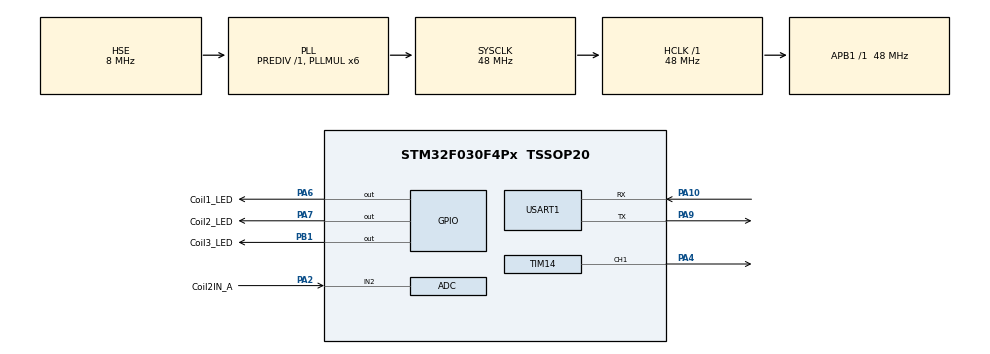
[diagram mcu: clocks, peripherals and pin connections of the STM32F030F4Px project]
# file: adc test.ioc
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ADC.ClockPrescaler=ADC_CLOCK_ASYNC_DIV1
ADC.ContinuousConvMode=ENABLE
ADC.DMAContinuousRequests=ENABLE
ADC.DataAlign=ADC_DATAALIGN_RIGHT
ADC.DiscontinuousConvMode=DISABLE
ADC.EOCSelection=ADC_EOC_SINGLE_CONV
ADC.EnableAnalogWatchDog=false
ADC.ExternalTrigConvEdge=ADC_EXTERNALTRIGCONVEDGE_NONE
ADC.LowPowerAutoPowerOff=DISABLE
ADC.LowPowerAutoWait=DISABLE
ADC.Overrun=ADC_OVR_DATA_OVERWRITTEN
ADC.Resolution=ADC_RESOLUTION_12B
ADC.SamplingTime=ADC_SAMPLETIME_28CYCLES_5
ADC.ScanConvMode=ADC_SCAN_DIRECTION_FORWARD
Dma.ADC.0.Direction=DMA_PERIPH_TO_MEMORY
Dma.ADC.0.Instance=DMA1_Channel1
Dma.ADC.0.MemDataAlignment=DMA_MDATAALIGN_WORD
Dma.ADC.0.MemInc=DMA_MINC_ENABLE
Dma.ADC.0.Mode=DMA_CIRCULAR
Dma.ADC.0.PeriphDataAlignment=DMA_PDATAALIGN_WORD
Dma.ADC.0.PeriphInc=DMA_PINC_DISABLE
Dma.ADC.0.Priority=DMA_PRIORITY_HIGH
Dma.Request0=ADC
Mcu.Family=STM32F0
Mcu.Name=STM32F030F4Px
Mcu.Package=TSSOP20
NVIC.ADC1_IRQn=true\:2\:0\:true\:false\:true
NVIC.DMA1_Channel1_IRQn=true\:0\:0\:false\:false\:true
NVIC.TIM17_IRQn=true\:0\:0\:true\:false\:true
PA10.Mode=Asynchronous
PA10.Signal=USART1_RX
PA13.Mode=Serial_Wire
PA13.Signal=SYS_SWDIO
PA14.Mode=Serial_Wire
PA14.Signal=SYS_SWCLK
PA2.GPIO_Label=Coil2IN_A
PA2.Mode=IN2
PA2.Signal=ADC_IN2
PA4.Signal=S_TIM14_CH1
PA6.GPIO_Label=Coil1_LED
PA6.Signal=GPIO_Output
PA7.GPIO_Label=Coil2_LED
PA7.Signal=GPIO_Output
PA9.Mode=Asynchronous
PA9.Signal=USART1_TX
PB1.GPIO_Label=Coil3_LED
PB1.Signal=GPIO_Output
PF0-OSC_IN.Mode=HSE-External-Oscillator
PF0-OSC_IN.Signal=RCC_OSC_IN
PF1-OSC_OUT.Mode=HSE-External-Oscillator
PF1-OSC_OUT.Signal=RCC_OSC_OUT
ProjectManager.HeapSize=0x200
ProjectManager.StackSize=0x400
ProjectManager.TargetToolchain=SW4STM32
RCC.AHBFreq_Value=48000000
RCC.APB1Freq_Value=48000000
RCC.APB1TimFreq_Value=48000000
RCC.EnbaleCSS=true
RCC.HCLKFreq_Value=48000000
RCC.HSIState=RCC_HSI_ON
RCC.PLLMUL=RCC_PLL_MUL6
RCC.PLLSourceVirtual=RCC_PLLSOURCE_HSE
RCC.SYSCLKFreq_VALUE=48000000
RCC.SYSCLKSource=RCC_SYSCLKSOURCE_PLLCLK
SH.S_TIM14_CH1.0=TIM14_CH1,PWM Generation1 CH1
TIM14.OCFastMode_PWM=TIM_OCFAST_DISABLE
TIM14.Period=256
TIM17.Period=479
VP_TIM14_VS_ClockSourceINT.Mode=Enable_Timer
VP_TIM17_VS_ClockSourceINT.Mode=Enable_Timer
board=adc test

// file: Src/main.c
/**
  ******************************************************************************
  * File Name          : main.c
  * Description        : Main program body
  ******************************************************************************
  *
  * COPYRIGHT(c) 2016 STMicroelectronics
  *
  * Redistribution and use in source and binary forms, with or without modification,
  * are permitted provided that the following conditions are met:
  *   1. Redistributions of source code must retain the above copyright notice,
  *      this list of conditions and the following disclaimer.
  *   2. Redistributions in binary form must reproduce the above copyright notice,
  *      this list of conditions and the following disclaimer in the documentation
  *      and/or other materials provided with the distribution.
  *   3. Neither the name of STMicroelectronics nor the names of its contributors
  *      may be used to endorse or promote products derived from this software
  *      without specific prior written permission.
  *
  * THIS SOFTWARE IS PROVIDED BY THE COPYRIGHT HOLDERS AND CONTRIBUTORS "AS IS"
  * AND ANY EXPRESS OR IMPLIED WARRANTIES, INCLUDING, BUT NOT LIMITED TO, THE
  * IMPLIED WARRANTIES OF MERCHANTABILITY AND FITNESS FOR A PARTICULAR PURPOSE ARE
  * DISCLAIMED. IN NO EVENT SHALL THE COPYRIGHT HOLDER OR CONTRIBUTORS BE LIABLE
  * FOR ANY DIRECT, INDIRECT, INCIDENTAL, SPECIAL, EXEMPLARY, OR CONSEQUENTIAL
  * DAMAGES (INCLUDING, BUT NOT LIMITED TO, PROCUREMENT OF SUBSTITUTE GOODS OR
  * SERVICES; LOSS OF USE, DATA, OR PROFITS; OR BUSINESS INTERRUPTION) HOWEVER
  * CAUSED AND ON ANY THEORY OF LIABILITY, WHETHER IN CONTRACT, STRICT LIABILITY,
  * OR TORT (INCLUDING NEGLIGENCE OR OTHERWISE) ARISING IN ANY WAY OUT OF THE USE
  * OF THIS SOFTWARE, EVEN IF ADVISED OF THE POSSIBILITY OF SUCH DAMAGE.
  *
  ******************************************************************************
  */
#include "stm32f0xx_hal.h"
#include "adc.h"
#include "dma.h"
#include "tim.h"
#include "usart.h"
#include "gpio.h"

/* USER CODE BEGIN Includes */
#include "math.h"
#define REFRENCE_EDGE 1875

/* USER CODE END Includes */

/* USER CODE BEGIN PV */
/* Private variables ---------------------------------------------------------*/
	int32_t in,a=127,final=0,sum=REFRENCE_EDGE;
	int32_t k[6],j=0,zar=1;

	int16_t asd;
	int32_t output_signal=0 , A [4] , B[3];
/* USER CODE END PV */

void SystemClock_Config(void);
void Error_Handler(void);

/* USER CODE BEGIN PFP */
int32_t BandPass_Filter (int32_t input_signal ) ;
/* Private function prototypes -----------------------------------------------*/

/* USER CODE END PFP */

int main(void)
{

  /* MCU Configuration----------------------------------------------------------*/

  /* Reset of all peripherals, Initializes the Flash interface and the Systick. */
  HAL_Init();

  /* Configure the system clock */
  SystemClock_Config();

  /* Initialize all configured peripherals */
  MX_GPIO_Init();
  MX_DMA_Init();
  MX_ADC_Init();
  MX_USART1_UART_Init();
  MX_TIM14_Init();
  MX_TIM17_Init();

  /* USER CODE BEGIN 2 */
	k[0]=51;
	k[1]=6818;
	k[2]=4023;
	k[3]=51;
	k[4]=6895;
	k[5]=4025;

	HAL_Delay(1);
  	HAL_TIM_PWM_Start(&htim14,TIM_CHANNEL_1);
  	TIM14->CCR1=0;
  	HAL_ADCEx_Calibration_Start(&hadc);
	HAL_Delay(10);
//	HAL_ADC_Start_DMA(&hadc,&in,1);
  	TIM14->CCR1=250;
  	HAL_Delay(100);
  	TIM14->CCR1=127;
  	HAL_ADC_Start(&hadc);

  	HAL_ADC_PollForConversion(&hadc,100);
  	HAL_TIM_Base_Start_IT(&htim17);
  /* USER CODE END 2 */

  /* Infinite loop */
  while (1)
  {

  }

}

/** System Clock Configuration
*/
void SystemClock_Config(void)
{

  RCC_OscInitTypeDef RCC_OscInitStruct;
  RCC_ClkInitTypeDef RCC_ClkInitStruct;
  RCC_PeriphCLKInitTypeDef PeriphClkInit;

  RCC_OscInitStruct.OscillatorType = RCC_OSCILLATORTYPE_HSI14|RCC_OSCILLATORTYPE_HSE;
  RCC_OscInitStruct.HSEState = RCC_HSE_ON;
  RCC_OscInitStruct.HSI14State = RCC_HSI14_ON;
  RCC_OscInitStruct.HSI14CalibrationValue = 16;
  RCC_OscInitStruct.PLL.PLLState = RCC_PLL_ON;
  RCC_OscInitStruct.PLL.PLLSource = RCC_PLLSOURCE_HSE;
  RCC_OscInitStruct.PLL.PLLMUL = RCC_PLL_MUL6;
  RCC_OscInitStruct.PLL.PREDIV = RCC_PREDIV_DIV1;
  if (HAL_RCC_OscConfig(&RCC_OscInitStruct) != HAL_OK)
  {
    Error_Handler();
  }

  RCC_ClkInitStruct.ClockType = RCC_CLOCKTYPE_HCLK|RCC_CLOCKTYPE_SYSCLK
                              |RCC_CLOCKTYPE_PCLK1;
  RCC_ClkInitStruct.SYSCLKSource = RCC_SYSCLKSOURCE_PLLCLK;
  RCC_ClkInitStruct.AHBCLKDivider = RCC_SYSCLK_DIV1;
  RCC_ClkInitStruct.APB1CLKDivider = RCC_HCLK_DIV1;
  if (HAL_RCC_ClockConfig(&RCC_ClkInitStruct, FLASH_LATENCY_1) != HAL_OK)
  {
    Error_Handler();
  }

  PeriphClkInit.PeriphClockSelection = RCC_PERIPHCLK_USART1;
  PeriphClkInit.Usart1ClockSelection = RCC_USART1CLKSOURCE_PCLK1;
  if (HAL_RCCEx_PeriphCLKConfig(&PeriphClkInit) != HAL_OK)
  {
    Error_Handler();
  }

  HAL_RCC_EnableCSS();

  HAL_SYSTICK_Config(HAL_RCC_GetHCLKFreq()/1000);

  HAL_SYSTICK_CLKSourceConfig(SYSTICK_CLKSOURCE_HCLK);

  /* SysTick_IRQn interrupt configuration */
  HAL_NVIC_SetPriority(SysTick_IRQn, 0, 0);
}

/* USER CODE BEGIN 4 */
int32_t BandPass_Filter (int32_t input_signal )
	{

		A[3] = (A[0] - A[2]);
		A[2] = A[1];
		A[1] = A[0];
		A[0] =((input_signal*k[0]<<10)+(A[1]*k[1])-(A[2]*k[2]))>>12;

		output_signal = (B[0] - B[2]);
		B[2] = B[1];
		B[1] = B[0];
		B[0] =((A[3]*k[3])+(B[1]*k[4])-(B[2]*k[5]))>>12;
		j+= (zar*output_signal);
		j/=(zar+1);
		return j;
	}
/* USER CODE END 4 */

void Error_Handler(void)
{
  while(1)
  {
  }
}

/************************ (C) COPYRIGHT STMicroelectronics *****END OF FILE****/
